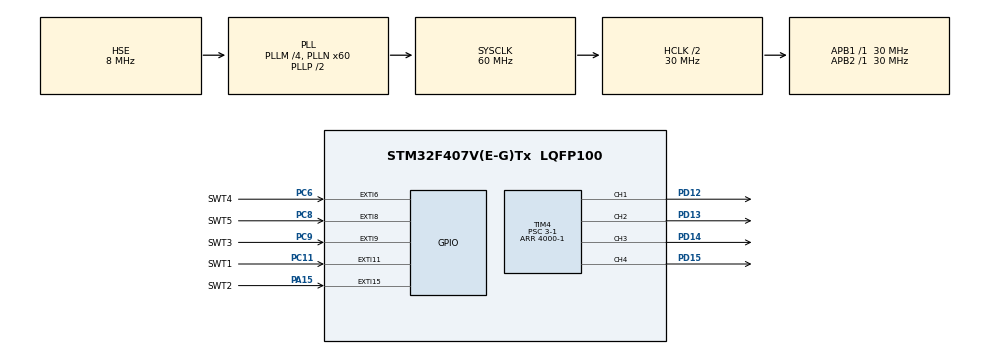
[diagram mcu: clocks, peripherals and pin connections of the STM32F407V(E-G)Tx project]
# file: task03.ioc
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Mcu.Family=STM32F4
Mcu.Name=STM32F407V(E-G)Tx
Mcu.Package=LQFP100
NVIC.EXTI15_10_IRQn=true\:0\:0\:false\:false\:true\:true\:true\:true
NVIC.EXTI9_5_IRQn=true\:0\:0\:false\:false\:true\:true\:true\:true
NVIC.PriorityGroup=NVIC_PRIORITYGROUP_4
NVIC.TIM4_IRQn=true\:0\:0\:false\:false\:true\:true\:true\:true
PA15.GPIO_Label=SWT2
PA15.Signal=GPXTI15
PC11.GPIO_Label=SWT1
PC11.Signal=GPXTI11
PC6.GPIO_Label=SWT4
PC6.Signal=GPXTI6
PC8.GPIO_Label=SWT5
PC8.Signal=GPXTI8
PC9.GPIO_Label=SWT3
PC9.Signal=GPXTI9
PD12.Signal=S_TIM4_CH1
PD13.Signal=S_TIM4_CH2
PD14.Signal=S_TIM4_CH3
PD15.Signal=S_TIM4_CH4
PH0-OSC_IN.Mode=HSE-External-Oscillator
PH0-OSC_IN.Signal=RCC_OSC_IN
PH1-OSC_OUT.Mode=HSE-External-Oscillator
PH1-OSC_OUT.Signal=RCC_OSC_OUT
ProjectManager.HeapSize=0x200
ProjectManager.StackSize=0x400
ProjectManager.TargetToolchain=STM32CubeIDE
RCC.48MHZClocksFreq_Value=30000000
RCC.AHBCLKDivider=RCC_SYSCLK_DIV2
RCC.AHBFreq_Value=30000000
RCC.APB1Freq_Value=30000000
RCC.APB1TimFreq_Value=30000000
RCC.APB2Freq_Value=30000000
RCC.APB2TimFreq_Value=30000000
RCC.CortexFreq_Value=30000000
RCC.HCLKFreq_Value=30000000
RCC.HSE_VALUE=8000000
RCC.HSI_VALUE=16000000
RCC.LSE_VALUE=32768
RCC.PLLM=4
RCC.PLLN=60
RCC.PLLSourceVirtual=RCC_PLLSOURCE_HSE
RCC.SYSCLKFreq_VALUE=60000000
RCC.SYSCLKSource=RCC_SYSCLKSOURCE_PLLCLK
RCC.VCOOutputFreq_Value=120000000
SH.S_TIM4_CH1.0=TIM4_CH1,PWM Generation1 CH1
SH.S_TIM4_CH2.0=TIM4_CH2,PWM Generation2 CH2
SH.S_TIM4_CH3.0=TIM4_CH3,PWM Generation3 CH3
SH.S_TIM4_CH4.0=TIM4_CH4,PWM Generation4 CH4
TIM4.Channel-PWM\ Generation1\ CH1=TIM_CHANNEL_1
TIM4.Channel-PWM\ Generation2\ CH2=TIM_CHANNEL_2
TIM4.Channel-PWM\ Generation3\ CH3=TIM_CHANNEL_3
TIM4.Channel-PWM\ Generation4\ CH4=TIM_CHANNEL_4
TIM4.Period=4000-1
TIM4.Prescaler=3-1
VP_TIM4_VS_ClockSourceINT.Mode=Internal
board=custom

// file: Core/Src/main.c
/* USER CODE BEGIN Header */
/**
  ******************************************************************************
  * @file           : main.c
  * @brief          : Main program body
  ******************************************************************************
  * @attention
  *
  * Copyright (c) 2023 STMicroelectronics.
  * All rights reserved.
  *
  * This software is licensed under terms that can be found in the LICENSE file
  * in the root directory of this software component.
  * If no LICENSE file comes with this software, it is provided AS-IS.
  *
  ******************************************************************************
  */
/* USER CODE END Header */
#include "main.h"

/* USER CODE BEGIN Includes */

#include "timer_pwm.h"

/* USER CODE END Includes */

TIM_HandleTypeDef htim4;

/* USER CODE BEGIN PV */

uint8_t schemeVar = 0;
timer_pwm_t active_timer;

/* USER CODE END PV */

void SystemClock_Config(void);
static void MX_GPIO_Init(void);
static void MX_TIM4_Init(void);

int main(void)
{

  /* MCU Configuration--------------------------------------------------------*/

  /* Reset of all peripherals, Initializes the Flash interface and the Systick. */
  HAL_Init();

  /* Configure the system clock */
  SystemClock_Config();

  /* Initialize all configured peripherals */
  MX_GPIO_Init();
  MX_TIM4_Init();

  /* Infinite loop */
  /* USER CODE BEGIN WHILE */

  HAL_TIM_PWM_Start(&htim4, TIM_CHANNEL_1);
  HAL_TIM_PWM_Start(&htim4, TIM_CHANNEL_2);
  HAL_TIM_PWM_Start(&htim4, TIM_CHANNEL_3);
  HAL_TIM_PWM_Start(&htim4, TIM_CHANNEL_4);

  value_Hertz_t actual = 20;
  value_Hertz_t value_after_PSC = 10000;

  timer_pwm_init(&active_timer, actual, value_after_PSC);
  timer_pwm_change_ARR(&active_timer, &TIM4->ARR);

  while (1)
  {
    /* USER CODE END WHILE */

    /* USER CODE BEGIN 3 */

	 switch (schemeVar)
	 {
		case 0:
			timer_pwm_stop(&TIM4->CCR1);
			timer_pwm_stop(&TIM4->CCR2);
			timer_pwm_stop(&TIM4->CCR3);
			timer_pwm_stop(&TIM4->CCR4);
			break;
		case 1:
			timer_pwm_stop(&TIM4->CCR4);
			timer_pwm_run(&active_timer, &TIM4->CCR1);
			break;
		case 2:
			timer_pwm_stop(&TIM4->CCR1);
			timer_pwm_run(&active_timer, &TIM4->CCR2);
			break;
		case 3:
			timer_pwm_stop(&TIM4->CCR2);
			timer_pwm_run(&active_timer, &TIM4->CCR3);
			break;
		case 4:
			timer_pwm_stop(&TIM4->CCR3);
			timer_pwm_run(&active_timer, &TIM4->CCR4);
			break;
		default:
			break;
	}

  }
  /* USER CODE END 3 */
}

void SystemClock_Config(void)
{
  RCC_OscInitTypeDef RCC_OscInitStruct = {0};
  RCC_ClkInitTypeDef RCC_ClkInitStruct = {0};

  /** Configure the main internal regulator output voltage
  */
  __HAL_RCC_PWR_CLK_ENABLE();
  __HAL_PWR_VOLTAGESCALING_CONFIG(PWR_REGULATOR_VOLTAGE_SCALE1);

  /** Initializes the RCC Oscillators according to the specified parameters
  * in the RCC_OscInitTypeDef structure.
  */
  RCC_OscInitStruct.OscillatorType = RCC_OSCILLATORTYPE_HSE;
  RCC_OscInitStruct.HSEState = RCC_HSE_ON;
  RCC_OscInitStruct.PLL.PLLState = RCC_PLL_ON;
  RCC_OscInitStruct.PLL.PLLSource = RCC_PLLSOURCE_HSE;
  RCC_OscInitStruct.PLL.PLLM = 4;
  RCC_OscInitStruct.PLL.PLLN = 60;
  RCC_OscInitStruct.PLL.PLLP = RCC_PLLP_DIV2;
  RCC_OscInitStruct.PLL.PLLQ = 4;
  if (HAL_RCC_OscConfig(&RCC_OscInitStruct) != HAL_OK)
  {
    Error_Handler();
  }

  /** Initializes the CPU, AHB and APB buses clocks
  */
  RCC_ClkInitStruct.ClockType = RCC_CLOCKTYPE_HCLK|RCC_CLOCKTYPE_SYSCLK
                              |RCC_CLOCKTYPE_PCLK1|RCC_CLOCKTYPE_PCLK2;
  RCC_ClkInitStruct.SYSCLKSource = RCC_SYSCLKSOURCE_PLLCLK;
  RCC_ClkInitStruct.AHBCLKDivider = RCC_SYSCLK_DIV2;
  RCC_ClkInitStruct.APB1CLKDivider = RCC_HCLK_DIV1;
  RCC_ClkInitStruct.APB2CLKDivider = RCC_HCLK_DIV1;

  if (HAL_RCC_ClockConfig(&RCC_ClkInitStruct, FLASH_LATENCY_0) != HAL_OK)
  {
    Error_Handler();
  }
}

static void MX_TIM4_Init(void)
{

  TIM_ClockConfigTypeDef sClockSourceConfig = {0};
  TIM_MasterConfigTypeDef sMasterConfig = {0};
  TIM_OC_InitTypeDef sConfigOC = {0};

  htim4.Instance = TIM4;
  htim4.Init.Prescaler = 3-1;
  htim4.Init.CounterMode = TIM_COUNTERMODE_UP;
  htim4.Init.Period = 4000-1;
  htim4.Init.ClockDivision = TIM_CLOCKDIVISION_DIV1;
  htim4.Init.AutoReloadPreload = TIM_AUTORELOAD_PRELOAD_DISABLE;
  if (HAL_TIM_Base_Init(&htim4) != HAL_OK)
  {
    Error_Handler();
  }
  sClockSourceConfig.ClockSource = TIM_CLOCKSOURCE_INTERNAL;
  if (HAL_TIM_ConfigClockSource(&htim4, &sClockSourceConfig) != HAL_OK)
  {
    Error_Handler();
  }
  if (HAL_TIM_PWM_Init(&htim4) != HAL_OK)
  {
    Error_Handler();
  }
  sMasterConfig.MasterOutputTrigger = TIM_TRGO_RESET;
  sMasterConfig.MasterSlaveMode = TIM_MASTERSLAVEMODE_DISABLE;
  if (HAL_TIMEx_MasterConfigSynchronization(&htim4, &sMasterConfig) != HAL_OK)
  {
    Error_Handler();
  }
  sConfigOC.OCMode = TIM_OCMODE_PWM1;
  sConfigOC.Pulse = 0;
  sConfigOC.OCPolarity = TIM_OCPOLARITY_HIGH;
  sConfigOC.OCFastMode = TIM_OCFAST_DISABLE;
  if (HAL_TIM_PWM_ConfigChannel(&htim4, &sConfigOC, TIM_CHANNEL_1) != HAL_OK)
  {
    Error_Handler();
  }
  if (HAL_TIM_PWM_ConfigChannel(&htim4, &sConfigOC, TIM_CHANNEL_2) != HAL_OK)
  {
    Error_Handler();
  }
  if (HAL_TIM_PWM_ConfigChannel(&htim4, &sConfigOC, TIM_CHANNEL_3) != HAL_OK)
  {
    Error_Handler();
  }
  if (HAL_TIM_PWM_ConfigChannel(&htim4, &sConfigOC, TIM_CHANNEL_4) != HAL_OK)
  {
    Error_Handler();
  }
  HAL_TIM_MspPostInit(&htim4);

}

static void MX_GPIO_Init(void)
{
  GPIO_InitTypeDef GPIO_InitStruct = {0};

  /* GPIO Ports Clock Enable */
  __HAL_RCC_GPIOH_CLK_ENABLE();
  __HAL_RCC_GPIOD_CLK_ENABLE();
  __HAL_RCC_GPIOC_CLK_ENABLE();
  __HAL_RCC_GPIOA_CLK_ENABLE();

  /*Configure GPIO pins : SWT4_Pin SWT5_Pin SWT3_Pin SWT1_Pin */
  GPIO_InitStruct.Pin = SWT4_Pin|SWT5_Pin|SWT3_Pin|SWT1_Pin;
  GPIO_InitStruct.Mode = GPIO_MODE_IT_RISING;
  GPIO_InitStruct.Pull = GPIO_NOPULL;
  HAL_GPIO_Init(GPIOC, &GPIO_InitStruct);

  /*Configure GPIO pin : SWT2_Pin */
  GPIO_InitStruct.Pin = SWT2_Pin;
  GPIO_InitStruct.Mode = GPIO_MODE_IT_RISING;
  GPIO_InitStruct.Pull = GPIO_NOPULL;
  HAL_GPIO_Init(SWT2_GPIO_Port, &GPIO_InitStruct);

  /* EXTI interrupt init*/
  HAL_NVIC_SetPriority(EXTI9_5_IRQn, 0, 0);
  HAL_NVIC_EnableIRQ(EXTI9_5_IRQn);

  HAL_NVIC_SetPriority(EXTI15_10_IRQn, 0, 0);
  HAL_NVIC_EnableIRQ(EXTI15_10_IRQn);

}

/* USER CODE BEGIN 4 */

void HAL_GPIO_EXTI_Callback(uint16_t GPIO_Pin)
{
	if (GPIO_Pin == SWT1_Pin)
	{
		timer_pwm_add_step(&active_timer, &TIM4->ARR);
	}
	if (GPIO_Pin == SWT2_Pin)
	{
		schemeVar++;
		schemeVar = schemeVar%5;

	}
	if (GPIO_Pin == SWT3_Pin)
	{
		timer_pwm_remove_step(&active_timer, &TIM4->ARR);
	}
	if (GPIO_Pin == SWT4_Pin)
	{
		timer_pwm_add_duty(&active_timer);
	}
	if (GPIO_Pin == SWT5_Pin)
	{
		timer_pwm_remove_duty(&active_timer);
	}

}

/* USER CODE END 4 */

void Error_Handler(void)
{
  __disable_irq();
  while (1)
  {
  }
}
